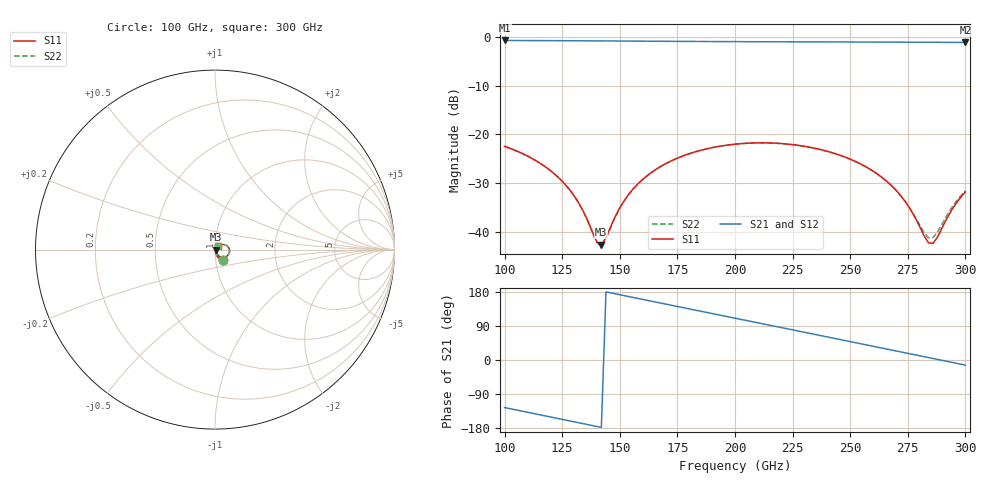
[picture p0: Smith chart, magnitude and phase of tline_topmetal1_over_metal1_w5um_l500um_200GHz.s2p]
#  GHZ S DB R 50
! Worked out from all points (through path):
!   101 points, 100 GHz to 300 GHz, reference 50 ohm
!   highest |S21| = -0.71 dB at 100 GHz (marker M1); lowest = -1.1 dB at 300 GHz (marker M2)
!   group delay of S21, straight-line fit = 3.44 ps
!   lowest |S11| = -42.7 dB at 142 GHz (marker M3), VSWR 1.01, Z = 50.7 - j0.119 ohm
!   |S11| at or under -10 dB: start of sweep to end of sweep
!   |S22| runs from -43.0 to -21.8 dB; largest |S21 - S12| = 1.6e-13
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100  -22.49 -53.0  -0.71 -125.5  -0.71 -125.5  -22.49 -53.3
120  -27.52 -70.9  -0.75 -150.4  -0.75 -150.4  -27.51 -71.3
128  -31.28 -74.4  -0.76 -160.4  -0.76 -160.4  -31.27 -75.1
134  -35.71 -70.4  -0.78 -167.9  -0.78 -167.9  -35.73 -71.4
140  -42.08 -36.2  -0.79 -175.3  -0.79 -175.3  -42.29 -37.5
142  -42.72 -9.3  -0.80 -177.8  -0.80 -177.8  -43.02 -9.8
150  -35.12 40.7  -0.82 172.2  -0.82 172.2  -35.20 41.2
154  -32.26 43.3  -0.83 167.3  -0.83 167.3  -32.31 43.6
160  -29.25 41.6  -0.85 159.8  -0.85 159.8  -29.27 41.8
168  -26.54 35.8  -0.87 149.9  -0.87 149.9  -26.56 35.9
182  -23.72 22.5  -0.91 132.6  -0.91 132.6  -23.73 22.5
200  -22.04 3.5  -0.95 110.4  -0.95 110.4  -22.05 3.5
216  -21.80 -13.9  -0.98 90.6  -0.98 90.6  -21.81 -13.9
234  -22.82 -33.3  -1.00 68.4  -1.00 68.4  -22.83 -33.2
254  -25.98 -53.5  -1.03 43.6  -1.03 43.6  -26.01 -53.0
268  -30.59 -63.6  -1.05 26.2  -1.05 26.2  -30.61 -62.1
276  -35.34 -61.7  -1.06 16.3  -1.06 16.3  -35.27 -58.6
282  -40.82 -39.9  -1.07 8.9  -1.07 8.9  -40.20 -34.9
284  -42.33 -21.1  -1.08 6.4  -1.08 6.4  -41.31 -17.3
286  -42.44 2.3  -1.08 3.9  -1.08 3.9  -41.23 3.0
294  -35.62 45.2  -1.10 -6.0  -1.10 -6.0  -35.17 42.1
300  -31.86 48.0  -1.11 -13.4  -1.11 -13.4  -31.61 45.4
